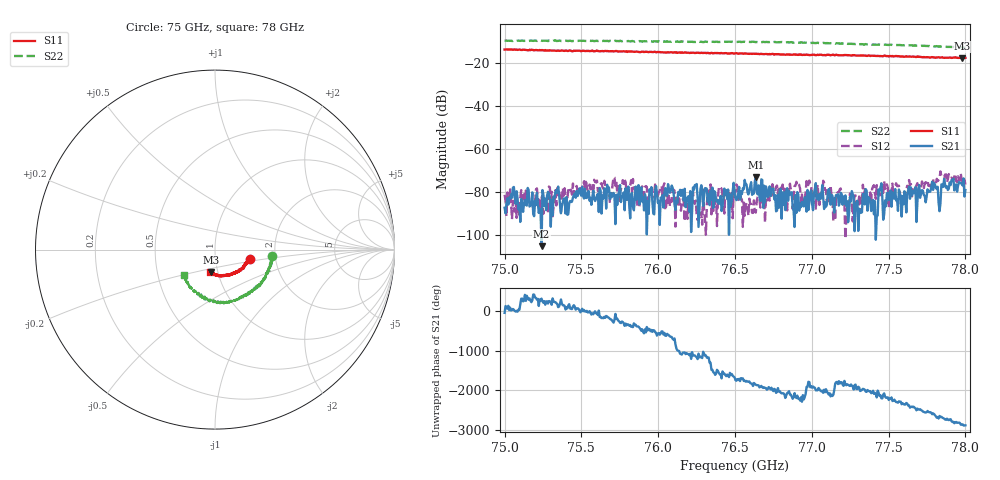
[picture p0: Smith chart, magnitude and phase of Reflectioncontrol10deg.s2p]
# Hz S MA R 50
! CMT, C4420, 21421029, 25.1.2/3
! Date: 8/7/2025 4:42:00 PM
! Data: Format (Calibration Info)
! Freq	S33:Mag/Ang(F2)	S43:Mag/Ang(F2)	S34:Mag/Ang(F2)	S44:Mag/Ang(F2)
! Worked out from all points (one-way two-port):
!   500 points, 75 GHz to 78 GHz, reference 50 ohm
!   highest |S21| = -72.92 dB at 76.635 GHz (marker M1); lowest = -105.0 dB at 75.24 GHz (marker M2)
!   lowest |S11| = -18.0 dB at 77.976 GHz (marker M3), VSWR 1.29, Z = 46.6 - j11.8 ohm
!   |S11| at or under -10 dB: start of sweep to end of sweep
!   |S22| runs from -13.0 to -9.7 dB; largest |S21 - S12| = 0.00043
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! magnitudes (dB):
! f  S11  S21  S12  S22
! 75 GHz  -13.9  -87.2  -81.2  -9.9
! 75.24 GHz  -14.2  -105.0  -81.8  -9.9
! 75.505 GHz  -14.6  -77.5  -77.2  -9.9
! 75.595 GHz  -14.6  -83.0  -75.4  -9.9
! 75.685 GHz  -14.8  -83.3  -85.0  -9.9
! 75.715 GHz  -14.8  -82.3  -73.2  -10.0
! 75.745 GHz  -14.8  -79.8  -84.0  -10.1
! 75.776 GHz  -14.7  -80.1  -76.2  -10.0
! 75.806 GHz  -14.9  -77.4  -80.6  -10.0
! 76.004 GHz  -15.1  -84.0  -80.2  -10.1
! 76.503 GHz  -15.7  -82.5  -78.6  -10.4
! 76.635 GHz  -15.9  -72.9  -89.5  -10.5
! 76.876 GHz  -16.3  -87.3  -87.7  -10.7
! 76.906 GHz  -16.3  -79.9  -77.0  -10.7
! 76.948 GHz  -16.3  -86.6  -84.4  -10.8
! 76.978 GHz  -16.4  -88.2  -76.4  -10.9
! 77.002 GHz  -16.4  -85.4  -85.4  -10.8
! 77.501 GHz  -17.2  -83.6  -87.2  -11.8
! 77.772 GHz  -17.7  -79.7  -77.3  -12.4
! 77.85 GHz  -17.5  -76.6  -72.4  -12.6
! 77.976 GHz  -18.0  -76.2  -74.7  -12.9
! 78 GHz  -17.8  -79.0  -76.4  -13.0
